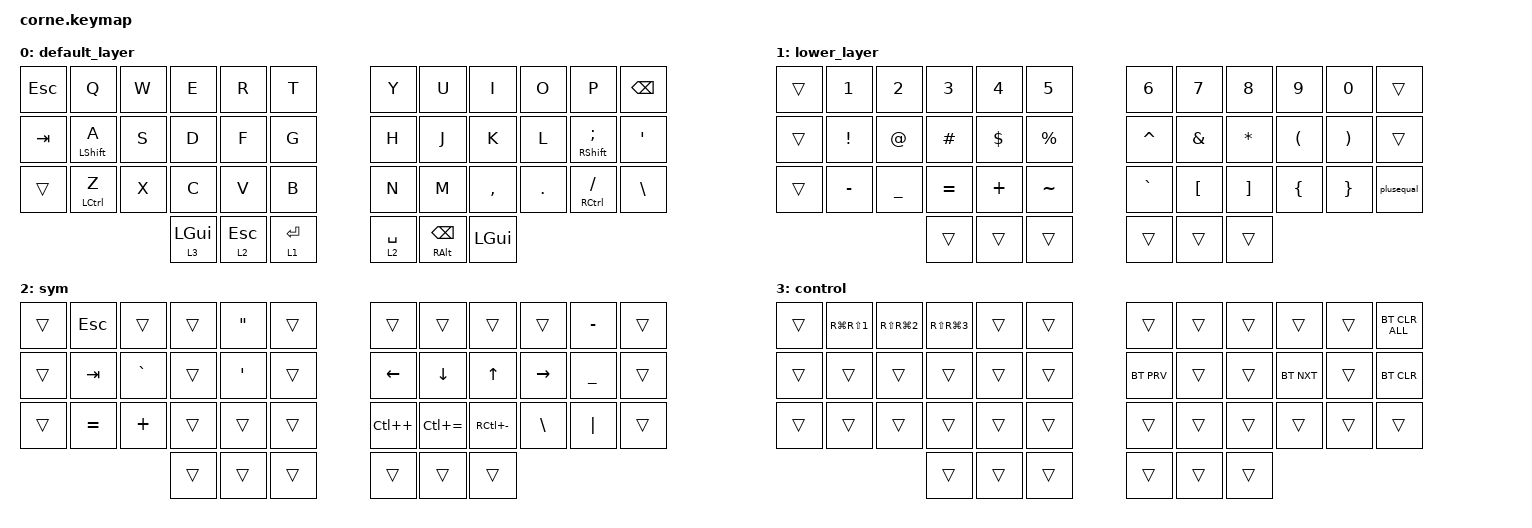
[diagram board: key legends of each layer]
/*
 * Copyright (c) 2020 The ZMK Contributors
 *
 * SPDX-License-Identifier: MIT
 */

#include <behaviors.dtsi>
#include <dt-bindings/zmk/bt.h>
#include <dt-bindings/zmk/keys.h>

/ {
    macros {
        plusequal: new_macro {
            compatible = "zmk,behavior-macro";
            #binding-cells = <0>;
            bindings = <&none &kp PLUS &kp EQUAL>;
            label = "NEW_MACRO";
        };

        minusequal: minusequal {
            compatible = "zmk,behavior-macro";
            #binding-cells = <0>;
            bindings = <&none &kp MINUS &kp EQUAL>;
            label = "MINUSEQUAL";
        };
    };

    keymap {
        compatible = "zmk,keymap";

        default_layer {
            // -----------------------------------------------------------------------------------------
            // |  TAB |  Q  |  W  |  E  |  R  |  T  |   |  Y  |  U   |  I  |  O  |  P  | BKSP |
            // | CTRL |  A  |  S  |  D  |  F  |  G  |   |  H  |  J   |  K  |  L  |  ;  |  '   |
            // | SHFT |  Z  |  X  |  C  |  V  |  B  |   |  N  |  M   |  ,  |  .  |  /  | ESC  |
            //                    | GUI | LWR | SPC |   | ENT | RSE  | ALT |

            bindings = <
&kp ESC  &kp Q             &kp W  &kp E           &kp R      &kp T          &kp Y        &kp U                    &kp I         &kp O    &kp P            &kp BACKSPACE
&kp TAB  &mt LEFT_SHIFT A  &kp S  &kp D           &kp F      &kp G          &kp H        &kp J                    &kp K         &kp L    &mt RSHIFT SEMI  &kp SQT
&trans   &mt LCTRL Z       &kp X  &kp C           &kp V      &kp B          &kp N        &kp M                    &kp COMMA     &kp DOT  &mt RCTRL FSLH   &kp BACKSLASH
                                  &lt 3 LEFT_GUI  &lt 2 ESC  &lt 1 ENTER    &lt 2 SPACE  &mt RIGHT_ALT BACKSPACE  &kp LEFT_GUI
            >;
        };

        lower_layer {
            // -----------------------------------------------------------------------------------------
            // |  TAB |  1  |  2  |  3  |  4  |  5  |   |  6  |  7  |  8  |  9  |  0  | BKSP |
            // | BTCLR| BT1 | BT2 | BT3 | BT4 | BT5 |   | LFT | DWN |  UP | RGT |     |      |
            // | SHFT |     |     |     |     |     |   |     |     |     |     |     |      |
            //                    | GUI |     | SPC |   | ENT |     | ALT |

            bindings = <
&trans  &kp N1           &kp N2          &kp N3     &kp N4      &kp N5         &kp N6     &kp N7            &kp N8             &kp N9                &kp N0                 &trans
&trans  &kp EXCLAMATION  &kp AT_SIGN     &kp HASH   &kp DOLLAR  &kp PERCENT    &kp CARET  &kp AMPERSAND     &kp ASTERISK       &kp LEFT_PARENTHESIS  &kp RIGHT_PARENTHESIS  &trans
&trans  &kp MINUS        &kp UNDERSCORE  &kp EQUAL  &kp PLUS    &kp TILDE      &kp GRAVE  &kp LEFT_BRACKET  &kp RIGHT_BRACKET  &kp LEFT_BRACE        &kp RIGHT_BRACE        &plusequal
                                         &trans     &trans      &trans         &trans     &trans            &trans
            >;
        };

        sym {
            bindings = <
&trans  &kp ESC    &trans     &trans  &kp DOUBLE_QUOTES  &trans    &trans          &trans          &trans         &trans           &kp MINUS       &trans
&trans  &kp TAB    &kp GRAVE  &trans  &kp SQT            &trans    &kp LEFT_ARROW  &kp DOWN_ARROW  &kp UP_ARROW   &kp RIGHT_ARROW  &kp UNDERSCORE  &trans
&trans  &kp EQUAL  &kp PLUS   &trans  &trans             &trans    &kp LC(PLUS)    &kp LC(EQUAL)   &kp RC(MINUS)  &kp BACKSLASH    &kp PIPE        &trans
                              &trans  &trans             &trans    &trans          &trans          &trans
            >;
        };

        control {
            bindings = <
&trans  &kp RG(RS(NUMBER_1))  &kp RS(RG(NUMBER_2))  &kp RS(RG(NUMBER_3))  &trans  &trans    &trans      &trans  &trans  &trans      &trans  &bt BT_CLR_ALL
&trans  &trans                &trans                &trans                &trans  &trans    &bt BT_PRV  &trans  &trans  &bt BT_NXT  &trans  &bt BT_CLR
&trans  &trans                &trans                &trans                &trans  &trans    &trans      &trans  &trans  &trans      &trans  &trans
                                                    &trans                &trans  &trans    &trans      &trans  &trans
            >;
        };
    };
};
